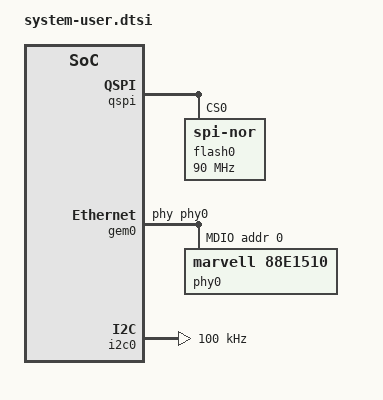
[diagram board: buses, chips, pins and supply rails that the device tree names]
/include/ "system-conf.dtsi"
/ {
};

/* QSPI PHY:  from https://wiki.trenz-electronic.de/display/PD/TE0720+Test+Board */
&qspi {
    #address-cells = <1>;
    #size-cells = <0>;
    status = "okay";
    flash0: flash@0 {
        compatible = "jedec,spi-nor";
        reg = <0x0>;
        #address-cells = <1>;
        #size-cells = <1>;
         
        spi-rx-bus-width = <4>;
        spi-tx-bus-width = <4>;
        spi-max-frequency = <90000000>;
    };
};

/* ETH PHY:  from https://wiki.trenz-electronic.de/display/PD/TE0720+Test+Board */
&gem0 {
    phy-handle = <&phy0>;
    mdio {
        #address-cells = <1>;
        #size-cells = <0>;
        phy0: phy@0 {
            compatible = "marvell,88e1510";
            device_type = "ethernet-phy";
            reg = <0>;
        };
    };
};

/* PACMAN specific settings */

/* I2C */
&i2c0 {
        clock-frequency = <100000>;
};

/* DDR memory reserved for PL-DMA */
/ {
    reserved-memory {
        #address-cells = <1>;
        #size-cells = <1>;
        ranges;

        reserved: buffer@0x30000000 {
            no-map;
            reg = <0x30000000 0x8000000>; //tried 0x10000000 (256MB), but conflicts with u-boot reloc. 128MB is OK.
        };
    };

    reserved-driver@0x30000000 {
        compatible = "xlnx,reserved-memory";
        memory-region = <&reserved>;
    };
};
